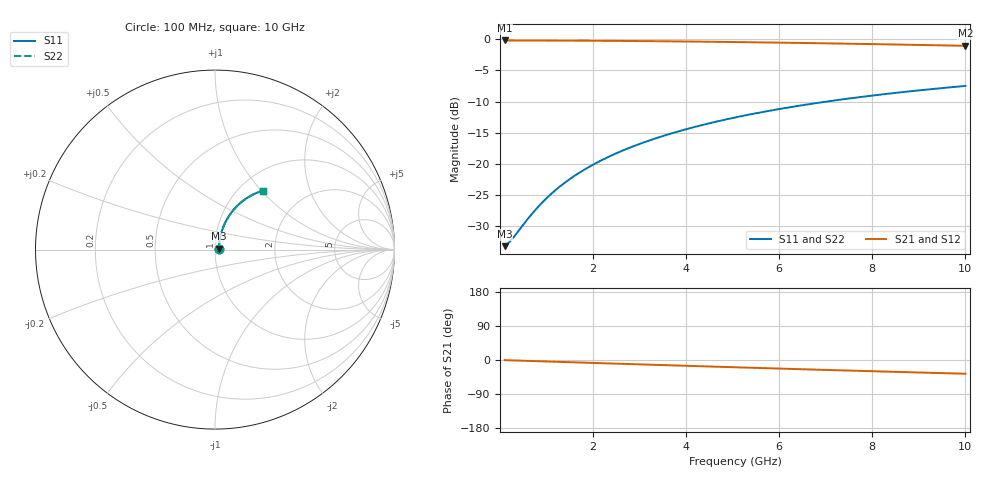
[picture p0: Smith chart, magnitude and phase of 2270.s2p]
# Hz S RI R 50.00
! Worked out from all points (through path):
!   100 points, 100 MHz to 10 GHz, reference 50 ohm
!   highest |S21| = -0.19 dB at 100 MHz (marker M1); lowest = -1.0 dB at 10 GHz (marker M2)
!   group delay of S21, straight-line fit = 10.1 ps
!   lowest |S11| = -33.3 dB at 100 MHz (marker M3), VSWR 1.04, Z = 52.2 + j0.488 ohm
!   |S11| at or under -10 dB: start of sweep to 7.033 GHz
!   |S22| runs from -33.3 to -7.5 dB; largest |S21 - S12| = 0
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1e8  0.0212 0.00467  0.9788 -0.00661  0.9788 -0.00661  0.0212 0.00467
2e8  0.0215 0.00934  0.9785 -0.0132  0.9785 -0.0132  0.0215 0.00934
3e8  0.0217 0.014  0.9783 -0.0198  0.9783 -0.0198  0.0217 0.014
7e8  0.0232 0.0326  0.9767 -0.0461  0.9767 -0.0461  0.0232 0.0326
8e8  0.0238 0.0373  0.9761 -0.0527  0.9761 -0.0527  0.0238 0.0373
1e9  0.025 0.0465  0.9748 -0.0658  0.9748 -0.0658  0.025 0.0465
1.2e9  0.0264 0.0557  0.9733 -0.0789  0.9733 -0.0789  0.0264 0.0557
1.4e9  0.0281 0.0648  0.9715 -0.0919  0.9715 -0.0919  0.0281 0.0648
1.6e9  0.0301 0.0739  0.9694 -0.1048  0.9694 -0.1048  0.0301 0.0739
1.8e9  0.0322 0.0829  0.9671 -0.1177  0.9671 -0.1177  0.0322 0.0829
2.1e9  0.0359 0.0963  0.9632 -0.1369  0.9632 -0.1369  0.0359 0.0963
2.5e9  0.0416 0.1138  0.9571 -0.1622  0.9571 -0.1622  0.0416 0.1138
2.9e9  0.0482 0.131  0.9501 -0.1871  0.9501 -0.1871  0.0482 0.131
3.4e9  0.0577 0.1517  0.9401 -0.2175  0.9401 -0.2175  0.0577 0.1517
3.8e9  0.0662 0.1677  0.931 -0.2413  0.931 -0.2413  0.0662 0.1677
4.2e9  0.0754 0.1832  0.9212 -0.2646  0.9212 -0.2646  0.0754 0.1832
5.1e9  0.0988 0.2157  0.8962 -0.3146  0.8962 -0.3146  0.0988 0.2157
5.9e9  0.1222 0.2417  0.8711 -0.3563  0.8711 -0.3563  0.1222 0.2417
6.7e9  0.1476 0.2649  0.8437 -0.3951  0.8437 -0.3951  0.1476 0.2649
7.5e9  0.1746 0.285  0.8145 -0.431  0.8145 -0.431  0.1746 0.285
8.4e9  0.2064 0.3039  0.7799 -0.4677  0.7799 -0.4677  0.2064 0.3039
1e10  0.265 0.3281  0.7153 -0.5238  0.7153 -0.5238  0.265 0.3281
